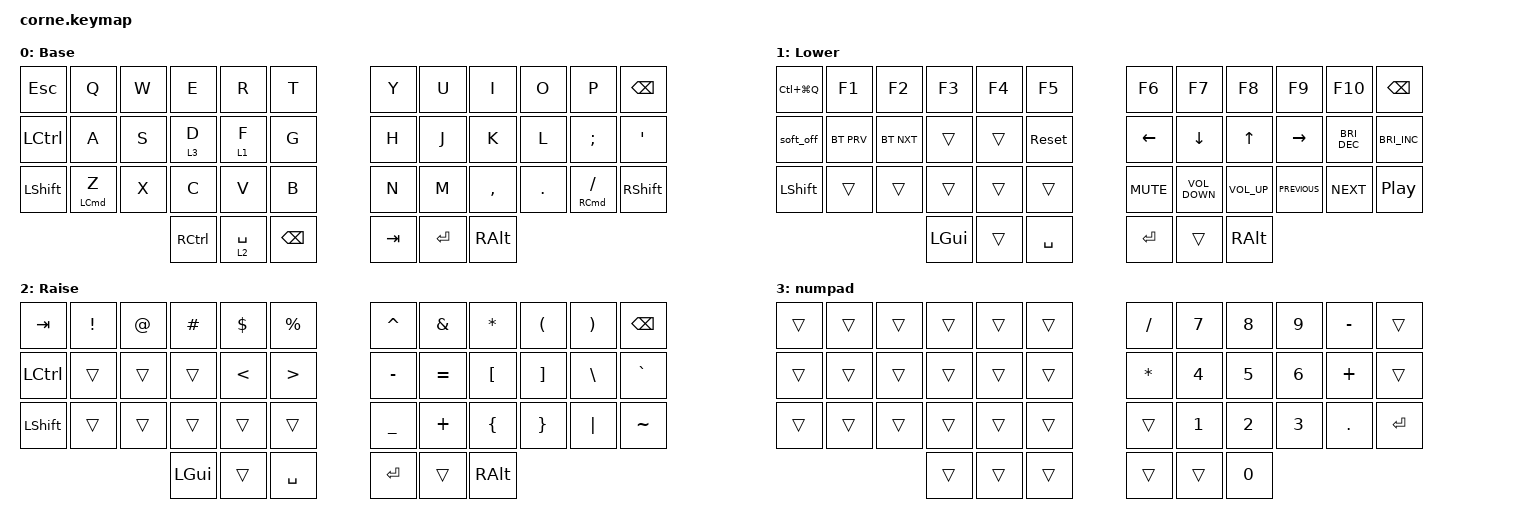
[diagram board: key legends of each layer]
/*
 * Copyright (c) 2020 The ZMK Contributors
 *
 * SPDX-License-Identifier: MIT
 */

#include <behaviors.dtsi>
#include <dt-bindings/zmk/bt.h>
#include <dt-bindings/zmk/keys.h>

/ {
    combos {
        compatible = "zmk,combos";

        jk-esc {
            bindings = <&kp ESCAPE>;
            key-positions = <19 20>;
        };

        lock_and_sleep_combo {
            bindings = <&lock_and_sleep>;
            key-positions = <12 0>;
        };

        clear_bt {
            bindings = <&bt BT_CLR_ALL>;
            key-positions = <14 13>;
            layers = <1>;
            require-prior-idle-ms = <200>;
        };
    };

    macros {
        lock_and_sleep: lock_and_sleep {
            compatible = "zmk,behavior-macro";
            #binding-cells = <0>;
            bindings = <&kp LC(LG(Q))>, <&macro_wait_time 1000>;

            label = "LOCK_AND_SLEEP";
        };
    };

    keymap {
        compatible = "zmk,keymap";

        default_layer {
            // -----------------------------------------------------------------------------------------
            // |  TAB |  Q  |  W  |  E  |  R  |  T  |   |  Y  |  U   |  I  |  O  |  P  | BKSP |
            // | CTRL |  A  |  S  |  D  |  F  |  G  |   |  H  |  J   |  K  |  L  |  ;  |  '   |
            // | SHFT |  Z  |  X  |  C  |  V  |  B  |   |  N  |  M   |  ,  |  .  |  /  | ESC  |
            //                    | GUI | LWR | SPC |   | ENT | RSE  | ALT |

            display-name = "Base";
            bindings = <
&kp ESCAPE  &kp Q       &kp W  &kp E      &kp R        &kp T            &kp Y    &kp U      &kp I      &kp O    &kp P           &kp BSPC
&kp LCTRL   &kp A       &kp S  &lt 3 D    &lt 1 F      &kp G            &kp H    &kp J      &kp K      &kp L    &kp SEMI        &kp SQT
&kp LSHFT   &mt LCMD Z  &kp X  &kp C      &kp V        &kp B            &kp N    &kp M      &kp COMMA  &kp DOT  &mt RCMD SLASH  &kp RSHIFT
                               &kp RCTRL  &lt 2 SPACE  &kp BACKSPACE    &kp TAB  &kp ENTER  &kp RALT
            >;
        };

        lower_layer {
            // -----------------------------------------------------------------------------------------
            // |  TAB |  1  |  2  |  3  |  4  |  5  |   |  6  |  7  |  8  |  9  |  0  | BKSP |
            // | BTCLR| BT1 | BT2 | BT3 | BT4 | BT5 |   | LFT | DWN |  UP | RGT |     |      |
            // | SHFT |     |     |     |     |     |   |     |     |     |     |     |      |
            //                    | GUI |     | SPC |   | ENT |     | ALT |

            display-name = "Lower";
            bindings = <
&kp LC(LG(Q))  &kp F1      &kp F2      &kp F3    &kp F4  &kp F5        &kp F6      &kp F7             &kp F8           &kp F9          &kp F10               &kp BSPC
&soft_off      &bt BT_PRV  &bt BT_NXT  &trans    &trans  &sys_reset    &kp LEFT    &kp DOWN           &kp UP           &kp RIGHT       &kp C_BRIGHTNESS_DEC  &kp C_BRIGHTNESS_INC
&kp LSHFT      &trans      &trans      &trans    &trans  &trans        &kp K_MUTE  &kp C_VOLUME_DOWN  &kp C_VOLUME_UP  &kp C_PREVIOUS  &kp C_NEXT            &kp C_PLAY_PAUSE
                                       &kp LGUI  &trans  &kp SPACE     &kp RET     &trans             &kp RALT
            >;
        };

        raise_layer {
            // -----------------------------------------------------------------------------------------
            // |  TAB |  !  |  @  |  #  |  $  |  %  |   |  ^  |  &  |  *  |  (  |  )  | BKSP |
            // | CTRL |     |     |     |     |     |   |  -  |  =  |  [  |  ]  |  \  |  `   |
            // | SHFT |     |     |     |     |     |   |  _  |  +  |  {  |  }  | "|" |  ~   |
            //                    | GUI |     | SPC |   | ENT |     | ALT |

            display-name = "Raise";
            bindings = <
&kp TAB    &kp EXCL  &kp AT  &kp HASH  &kp DLLR       &kp PRCNT           &kp CARET  &kp AMPS   &kp STAR  &kp LPAR  &kp RPAR  &kp BSPC
&kp LCTRL  &trans    &trans  &trans    &kp LESS_THAN  &kp GREATER_THAN    &kp MINUS  &kp EQUAL  &kp LBKT  &kp RBKT  &kp BSLH  &kp GRAVE
&kp LSHFT  &trans    &trans  &trans    &trans         &trans              &kp UNDER  &kp PLUS   &kp LBRC  &kp RBRC  &kp PIPE  &kp TILDE
                             &kp LGUI  &trans         &kp SPACE           &kp RET    &trans     &kp RALT
            >;
        };

        numpad {
            bindings = <
&trans  &trans  &trans  &trans  &trans  &trans    &kp FSLH  &kp N7  &kp N8  &kp N9  &kp MINUS  &trans
&trans  &trans  &trans  &trans  &trans  &trans    &kp STAR  &kp N4  &kp N5  &kp N6  &kp PLUS   &trans
&trans  &trans  &trans  &trans  &trans  &trans    &trans    &kp N1  &kp N2  &kp N3  &kp DOT    &kp RET
                        &trans  &trans  &trans    &trans    &trans  &kp N0
            >;
        };
    };
};
